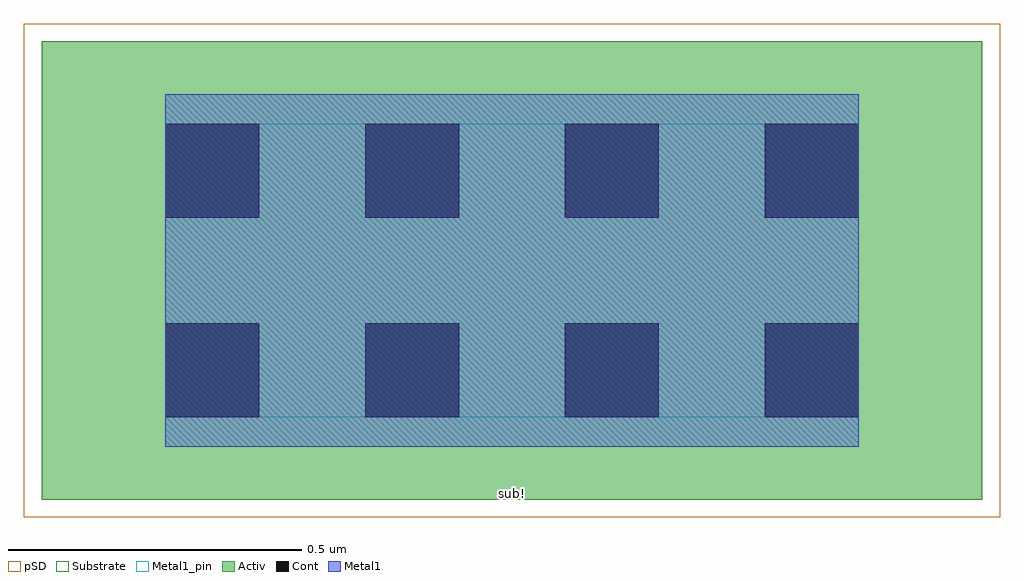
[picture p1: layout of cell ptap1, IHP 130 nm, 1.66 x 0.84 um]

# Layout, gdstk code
import gdstk
lib = gdstk.Library(unit=1e-6, precision=1e-09)
def R(c, l, rs):  # rectangles x0, y0, x1, y1
    for r in rs: c.add(gdstk.rectangle(r[:2], r[2:], *l))
def A(c, l, x, y, w, h, nx, ny, dx, dy):  # array of equal rectangles
    R(c, l, [(x+i*dx, y+j*dy, x+i*dx+w, y+j*dy+h) for i in range(nx) for j in range(ny)])
Activ = (1, 0)
Cont = (6, 0)
Metal1 = (8, 0)
Metal1_pin = (8, 2)
pSD = (14, 0)
Substrate = (40, 0)

ptap1 = lib.new_cell('ptap1')
R(ptap1, Activ, [(0,0,1.6,0.78)])
A(ptap1, Cont, 0.21, 0.14, 0.16, 0.16, 4, 2, 0.34, 0.34)
R(ptap1, Metal1, [(0.21,0.09,1.39,0.69), (0.21,0.14,1.39,0.64)])
R(ptap1, Metal1_pin, [(0.21,0.14,1.39,0.64)])
R(ptap1, pSD, [(-0.03,-0.03,1.63,0.81)])
R(ptap1, Substrate, [(0,0,1.6,0.78)])
ptap1.add(gdstk.Label('sub!', (0.8,0.01), layer=63, texttype=0))
ptap1.add(gdstk.Label('sub!', (0.8,0.01), layer=40, texttype=0))

lib.write_gds('ptap1.gds')
